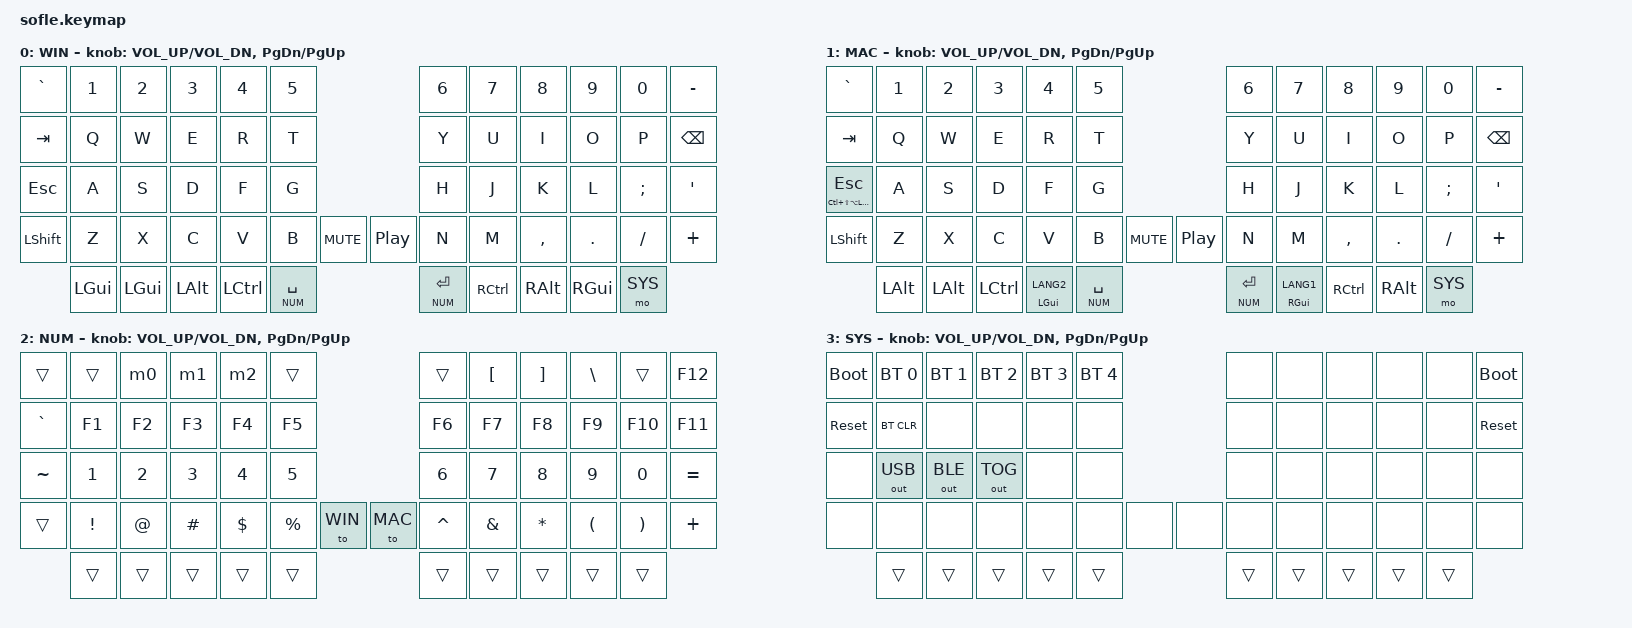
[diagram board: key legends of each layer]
/*
 * Sofle Wireless (nice!nano + ZMK) keymap
 *
 * 有線 Sofle の Vial 設定 (../../vial/sofle.vil) を ZMK に移植したもの。
 * 設計の意図・レイヤーの狙いは vial/CLAUDE.md「Sofle キーマップ設計メモ」を、
 * ZMK 固有の差分・制約は同ディレクトリの NOTES.md を参照。
 *
 * マトリクス写像: Vial は 左 row0-4 / 右 row5-9・col0=小指外→col5=内側。
 * ZMK は視覚順で 左=外→内(そのまま) / 右=内→外(col を反転) に並べ直している。
 * エンコーダ押下は下段中央の 2 ポジション (左=42 / 右=43)。
 */

#include <behaviors.dtsi>
#include <dt-bindings/zmk/keys.h>
#include <dt-bindings/zmk/bt.h>
#include <dt-bindings/zmk/outputs.h>

#define WIN   0   // WIN_BASE  (デフォルト)
#define MAC   1   // MAC_BASE
#define NUM   2   // 数字・記号・F・Macro・OS切替
#define SYS   3   // BT プロファイル・出力切替・リセット (有線版の予備 Layer3 を転用)

/ {
    behaviors {
        // レイヤータップ (Space/Enter)。QMK の Permissive Hold + TappingTerm 180 相当 = balanced。
        lt_bal: layer_tap_balanced {
            compatible = "zmk,behavior-hold-tap";
            #binding-cells = <2>;
            flavor = "balanced";
            tapping-term-ms = <180>;
            quick-tap-ms = <175>;
            bindings = <&mo>, <&kp>;
        };

        // Mac 親指の純 GUI Mod-Tap (英数/かな)。QMK の Hold On Other Key Press 相当 = hold-preferred。
        hm_gui: hold_mod_gui {
            compatible = "zmk,behavior-hold-tap";
            #binding-cells = <2>;
            flavor = "hold-preferred";
            tapping-term-ms = <180>;
            bindings = <&kp>, <&kp>;
        };

        // ALL_T(Esc): タップ=Esc / ホールド=Hyper(Ctrl+Shift+Alt+Gui)。
        // Hold On Other Key Press の対象外 (Esc タップ→次文字ロールを Hyper 誤爆させない) = tap-preferred。
        hyper_esc: hyper_escape {
            compatible = "zmk,behavior-hold-tap";
            #binding-cells = <2>;
            flavor = "tap-preferred";
            tapping-term-ms = <180>;
            bindings = <&kp>, <&kp>;
        };
    };

    macros {
        // スクショ: LAlt+LShift+3/4/5 (Mac=CleanShot Option+Shift, Win=ShareX Alt+Shift に合わせる)
        m0: macro_shot_full {
            compatible = "zmk,behavior-macro";
            #binding-cells = <0>;
            bindings = <&macro_press &kp LALT &kp LSHFT>, <&macro_tap &kp N3>, <&macro_release &kp LSHFT &kp LALT>;
        };
        m1: macro_shot_area {
            compatible = "zmk,behavior-macro";
            #binding-cells = <0>;
            bindings = <&macro_press &kp LALT &kp LSHFT>, <&macro_tap &kp N4>, <&macro_release &kp LSHFT &kp LALT>;
        };
        m2: macro_shot_video {
            compatible = "zmk,behavior-macro";
            #binding-cells = <0>;
            bindings = <&macro_press &kp LALT &kp LSHFT>, <&macro_tap &kp N5>, <&macro_release &kp LSHFT &kp LALT>;
        };

        // Win Raycast: Ctrl+Space を ~110ms 保持してから離す (quick stab の取りこぼし対策)
        m3: macro_raycast_win {
            compatible = "zmk,behavior-macro";
            #binding-cells = <0>;
            bindings
                = <&macro_press &kp LCTRL>
                , <&macro_wait_time 40>
                , <&macro_press &kp SPACE>
                , <&macro_wait_time 30>
                , <&macro_release &kp SPACE>
                , <&macro_wait_time 40>
                , <&macro_release &kp LCTRL>
                ;
        };
    };

    combos {
        compatible = "zmk,combos";

        // C0 (Mac): 左親指 英数(53) + Space(54) → Cmd+Space (Raycast for Mac)。
        // Win C1 と同じ物理ペアに揃える。.vil の C0 は Ctrl+英数 (52+53) だが、
        // 有線での実際の打ち方は 53+54 の quick stab (per-key HOKP が拾うため
        // combo は発火せず事実上未使用だった)。hold-preferred でも同じ結果になるが、
        // combo が先に確定するため打鍵速度に依らずタイミングが保証される。
        combo_raycast_mac {
            timeout-ms = <80>;
            key-positions = <53 54>;
            bindings = <&kp LG(SPACE)>;
            layers = <MAC>;
        };

        // C1 (Win): 左親指 Ctrl(53) + Space(54) → M3 (Ctrl+Space, Raycast for Windows)。
        combo_raycast_win {
            timeout-ms = <80>;
            key-positions = <53 54>;
            bindings = <&m3>;
            layers = <WIN>;
        };
    };

    keymap {
        compatible = "zmk,keymap";

        win_layer {
            display-name = "WIN";
            bindings = <
&kp GRAVE   &kp N1  &kp N2  &kp N3  &kp N4  &kp N5                                &kp N6    &kp N7  &kp N8    &kp N9   &kp N0    &kp MINUS
&kp TAB     &kp Q   &kp W   &kp E   &kp R   &kp T                                 &kp Y     &kp U   &kp I     &kp O    &kp P     &kp BSPC
&kp ESC     &kp A   &kp S   &kp D   &kp F   &kp G                                 &kp H     &kp J   &kp K     &kp L    &kp SEMI  &kp SQT
&kp LSHFT   &kp Z   &kp X   &kp C   &kp V   &kp B   &kp C_MUTE       &kp C_PP     &kp N     &kp M   &kp COMMA &kp DOT  &kp FSLH  &kp PLUS
              &kp LGUI &kp LGUI &kp LALT &kp LCTRL &lt_bal NUM SPACE   &lt_bal NUM RET &kp RCTRL &kp RALT &kp RGUI &mo SYS
            >;
            sensor-bindings = <&inc_dec_kp C_VOL_UP C_VOL_DN  &inc_dec_kp PG_DN PG_UP>;
        };

        mac_layer {
            display-name = "MAC";
            bindings = <
&kp GRAVE   &kp N1  &kp N2  &kp N3  &kp N4  &kp N5                                &kp N6    &kp N7  &kp N8    &kp N9   &kp N0    &kp MINUS
&kp TAB     &kp Q   &kp W   &kp E   &kp R   &kp T                                 &kp Y     &kp U   &kp I     &kp O    &kp P     &kp BSPC
&hyper_esc LC(LS(LA(LGUI))) ESC  &kp A &kp S &kp D &kp F &kp G                    &kp H     &kp J   &kp K     &kp L    &kp SEMI  &kp SQT
&kp LSHFT   &kp Z   &kp X   &kp C   &kp V   &kp B   &kp C_MUTE       &kp C_PP     &kp N     &kp M   &kp COMMA &kp DOT  &kp FSLH  &kp PLUS
              &kp LALT &kp LALT &kp LCTRL &hm_gui LGUI LANG2 &lt_bal NUM SPACE   &lt_bal NUM RET &hm_gui RGUI LANG1 &kp RCTRL &kp RALT &mo SYS
            >;
            sensor-bindings = <&inc_dec_kp C_VOL_UP C_VOL_DN  &inc_dec_kp PG_DN PG_UP>;
        };

        num_layer {
            display-name = "NUM";
            bindings = <
&trans      &trans   &m0      &m1      &m2      &trans                            &trans    &kp LBKT &kp RBKT  &kp BSLH &trans    &kp F12
&kp GRAVE   &kp F1   &kp F2   &kp F3   &kp F4   &kp F5                            &kp F6    &kp F7   &kp F8    &kp F9   &kp F10   &kp F11
&kp TILDE   &kp N1   &kp N2   &kp N3   &kp N4   &kp N5                            &kp N6    &kp N7   &kp N8    &kp N9   &kp N0    &kp EQUAL
&trans      &kp EXCL &kp AT   &kp HASH &kp DLLR &kp PRCNT  &to WIN     &to MAC    &kp CARET &kp AMPS &kp ASTRK &kp LPAR &kp RPAR  &kp PLUS
              &trans &trans &trans &trans &trans             &trans &trans &trans &trans &trans
            >;
            // 回転はベース (音量 / ページ) と同じ = QMK の透過相当
            sensor-bindings = <&inc_dec_kp C_VOL_UP C_VOL_DN  &inc_dec_kp PG_DN PG_UP>;
        };

        // 有線版の予備 Layer3 を BT/システム管理に転用 (無線で必須になった機能の置き場)。
        // 右親指最外 (&mo SYS) ホールドで到達 — 有線の LT3(KC_NO) と同じ物理キー。
        // 誤爆防止のため未割当は透過ではなく &none (有線 MACRO レイヤーと同じ方針)。
        sys_layer {
            display-name = "SYS";
            bindings = <
&bootloader &bt BT_SEL 0 &bt BT_SEL 1 &bt BT_SEL 2 &bt BT_SEL 3 &bt BT_SEL 4     &none &none &none &none &none &bootloader
&sys_reset  &bt BT_CLR   &none        &none        &none        &none            &none &none &none &none &none &sys_reset
&none       &out OUT_USB &out OUT_BLE &out OUT_TOG &none        &none            &none &none &none &none &none &none
&none       &none        &none        &none        &none        &none   &none      &none   &none &none &none &none &none &none
              &trans &trans &trans &trans &trans          &trans &trans &trans &trans &trans
            >;
            sensor-bindings = <&inc_dec_kp C_VOL_UP C_VOL_DN  &inc_dec_kp PG_DN PG_UP>;
        };

        // ZMK Studio でレイヤーを後から追加できるよう予約 (KeebMaker デフォルトの流儀を踏襲)
        extra_1 {
            status = "reserved";
        };

        extra_2 {
            status = "reserved";
        };
    };
};
